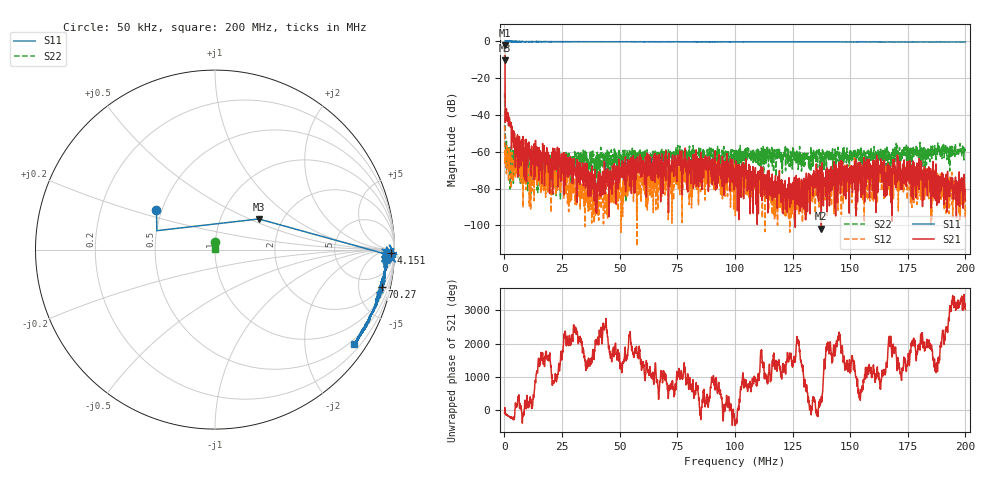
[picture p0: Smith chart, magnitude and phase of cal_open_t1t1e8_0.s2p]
! 26-Feb-26 1:39:44 PM
! E:\VNA_MEASUREMENTS\CAL_S11\CAL_OPEN_T1T1E8_0.S2P
! CHANNEL.1
! TR.MEASUREMENT
! CORRECTED.DATA
# GHZ S RI R 50.0
! FREQ.GHZ  S11RE  S11IM  S21RE  S21IM  S12RE  S12IM  S22RE  S22IM
!; PortSelection: Port_12
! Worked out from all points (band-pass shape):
!   2000 points, 50 kHz to 200 MHz, reference 50 ohm
!   highest |S21| = -2.38 dB at 150 kHz (marker M1); lowest = -101.7 dB at 137.5 MHz (marker M2)
!   |S21| within 3 dB of the highest: start of sweep to 176.3 kHz
!   lowest |S11| = -10.5 dB at 250 kHz (marker M3), VSWR 1.85, Z = 75.8 + j28.4 ohm
!   |S11| at or under -10 dB: 205.5 kHz to 255 kHz (49.47 kHz wide, 21.5 % of centre)
!   |S22| runs from -87.2 to -28.0 dB; largest |S21 - S12| = 0.76
!   S11 on the Smith chart (normalised r, x): 50 kHz: 0.47, +0.24; 4.151 MHz: 60, -55; 70.27 MHz: 1.90, -8.63; 200 MHz: 0.37, -3.23
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5e-05  -0.326 0.2211  0.0302 -0.6821  0.00246 -0.00442  0.000249 0.0397
0.000150025  -0.3242 0.1055  0.1442 0.7468  -8.15e-05 -0.00046  0.0037 -0.00764
0.00025005  0.2439 0.1707  0.1509 0.1369  0.000369 0.000554  -0.000491 -0.0037
0.001550375  0.9484 -0.0474  -0.0111 -0.000883  -0.000674 -7.71e-05  0.00048 0.00112
0.004151026  0.9818 -0.0163  -0.00213 0.000568  -0.00039 -0.000239  -0.000402 0.000185
0.009152276  0.9519 -0.0156  -0.00068 -0.0012  0.00023 -0.000215  0.000754 0.000376
0.02195548  0.9521 -0.0809  0.000331 1.34e-05  -0.000368 0.000171  0.000576 0.000263
0.03345835  0.944 -0.0995  -0.00026 0.000136  -2.07e-05 -9.08e-05  0.000681 0.000205
0.03985996  0.9448 -0.1171  3.26e-05 -9.01e-05  5.8e-06 0.000111  0.00081 -0.000263
0.04266065  0.9449 -0.1249  -0.000106 -9.2e-05  6.04e-05 1.25e-05  0.000233 -0.000272
0.06306576  0.9362 -0.1816  -9.01e-05 0.000624  6.09e-05 -1.13e-05  0.000703 0.000361
0.06676668  0.9402 -0.1957  -0.000217 0.000229  -0.000236 3.5e-06  0.000596 0.000232
0.07026756  0.9301 -0.2082  -0.000454 0.000144  0.000206 9.35e-05  0.000474 0.000262
0.08697174  0.9158 -0.2446  6.59e-05 -0.000551  0.000295 -3.54e-05  0.000769 0.000117
0.100075  0.9035 -0.2798  -1.1e-05 -0.000125  -0.00011 1.67e-05  0.000755 0.000738
0.1216804  0.8828 -0.3364  -0.000112 1.25e-05  -6.6e-06 1.87e-05  0.000791 0.000197
0.1333833  0.8692 -0.3656  -3.72e-05 0.000181  4.53e-05 -4.52e-05  0.000352 0.000844
0.1374844  0.8635 -0.3771  4.9e-06 6.6e-06  -0.000162 -2.48e-05  0.000732 0.000558
0.1624906  0.8319 -0.4451  0.000157 -0.000299  0.000132 -8.38e-05  0.000312 0.000497
0.1666917  0.8266 -0.4524  0.000249 -0.000265  4.3e-06 0.00034  0.000382 0.000554
0.179995  0.8044 -0.4792  8.77e-05 0.000649  -5.84e-05 -0.00022  0.000724 0.00047
0.2  0.7771 -0.5242  -3.27e-05 3.35e-05  2.57e-05 -1.03e-05  0.000532 0.000979
